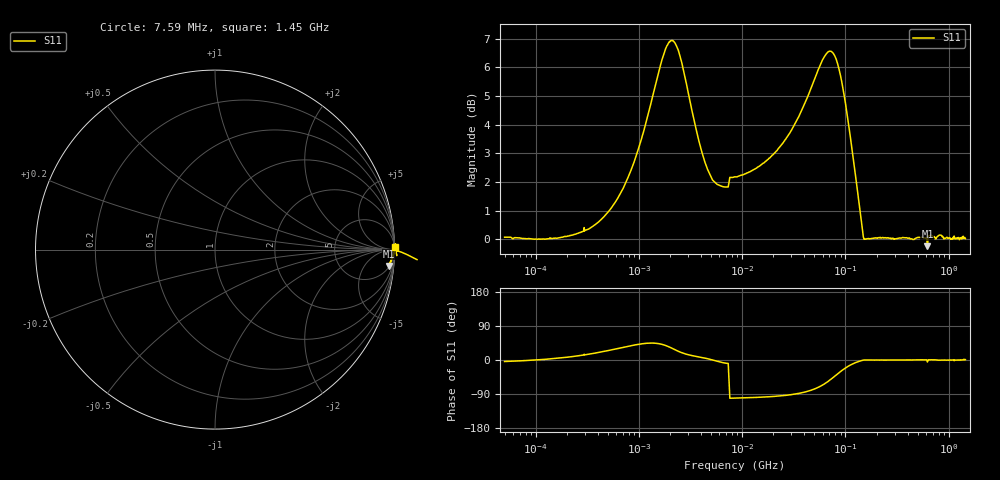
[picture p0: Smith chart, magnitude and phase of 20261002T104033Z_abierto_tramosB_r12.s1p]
! piloto_saltos / abierto_tramosB / r12
# HZ S RI R 50
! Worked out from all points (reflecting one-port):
!   501 points, 50 kHz to 1.45 GHz, reference 50 ohm
!   lowest |S11| = -0.2 dB at 622 MHz (marker M1), VSWR 72.56, Z = 287 - j978 ohm
!   phase of S11 starts at -4 deg and turns +5 deg over the sweep
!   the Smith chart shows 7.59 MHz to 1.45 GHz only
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50000  1.006 -0.069
182500  1.003 0.1058
381000  1.008 0.3365
678000  1.024 0.6497
1164000  1.146 1.105
1623000  1.497 1.353
1920000  1.786 1.277
2379000  1.968 0.8608
2784000  1.844 0.5411
3000000  1.749 0.4353
4620000  1.322 0.0804
6780000  1.222 -0.1717
8130000  -0.2372 -1.26
8670000  -0.2335 -1.264
1.839e7  -0.1664 -1.376
3.27e7  0.00696 -1.595
4.62e7  0.3179 -1.803
5.7e7  0.7054 -1.886
6.51e7  1.054 -1.823
7.32e7  1.375 -1.622
8.67e7  1.651 -1.09
9.75e7  1.633 -0.6949
1.137e8  1.436 -0.3115
1.299e8  1.219 -0.1122
1.542e8  1.002 0.00122
4.035e8  1.004 0.00225
6.22e8  0.9685 -0.0914
1.45e9  1.003 0.0167
